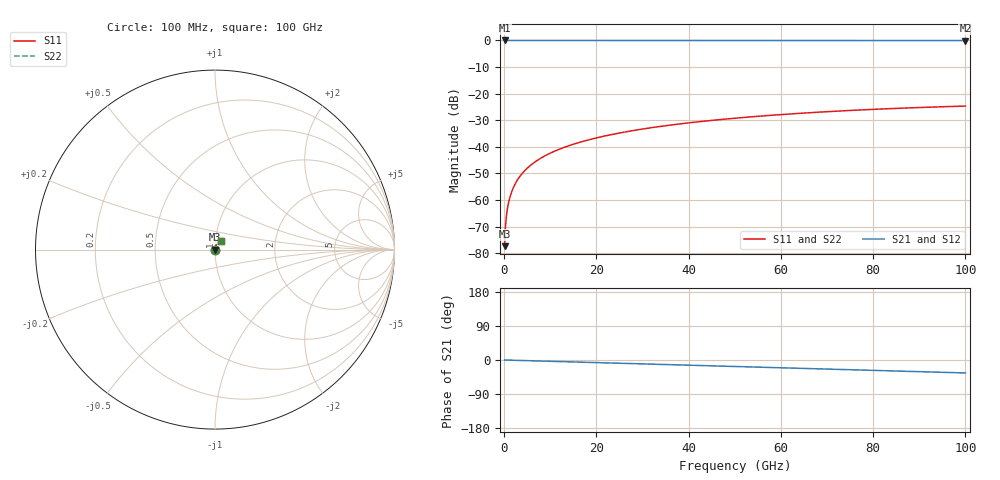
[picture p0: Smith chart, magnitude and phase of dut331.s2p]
! Touchstone file exported from HFSS 2026.1.0
!  File:  C:/ffzhzh/LocalFiles/Ansys_Project_Files/temp_train_TSV_331_1783509678_41296.aedt
!  Generated:  07:22:31 PM Jul  8, 2026
!  Design:  TSV
!  Project:  temp_train_TSV_331_1783509678_41296
! Variables:
!  h_bsmrdl = 2um
!  h_ox = 20um
!  h_rdl = 5um
!  h_sub = 63.23um
!  h_tmrdl = 5um
!  h_tsv = 63.23um
!  h_via = 3um
!  l_bsmrdl = 300um
!  l_sub = 423.64um
!  l_tmrdl = 200um
!  m_sub = 200um
!  pitch = 53.72um
!  r_tsv = 11.82um
!  s_tmrdl = 10um
!  w_bsmrdl = 18um
!  w_sub = 500um
!  w_tmrdl = 12um
!  x_tsv_center1 = 206um
!  x_tsv_center2 = 524um
!  x_tsv_center3 = 736um
!  x_tsv_center4 = 1054um
!  x_tsv_center5 = 1266um
!  x_tsv_center6 = 1584um
# GHz S MA R 50.000000
! Terminal data exported
! Port[1] = TSV1_1_T1
! Port[2] = TSV1_1_T2
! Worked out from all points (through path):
!   1000 points, 100 MHz to 100 GHz, reference 50 ohm
!   highest |S21| = 0.00 dB at 100 MHz (marker M1); lowest = 0.0 dB at 100 GHz (marker M2)
!   group delay of S21, straight-line fit = 948 fs
!   lowest |S11| = -77.4 dB at 100 MHz (marker M3), VSWR 1.00, Z = 50 + j0.0107 ohm
!   |S11| at or under -10 dB: start of sweep to end of sweep
!   |S22| runs from -77.4 to -24.7 dB; largest |S21 - S12| = 2.1e-15
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0.1  0.0001349 52.1  0.9999 -0.0  0.9999 -0.0  0.0001349 52.1
! Gamma 0 0 0 0
! Port Impedance 50 0 50 0
0.3  0.0003268 70.5  0.9999 -0.1  0.9999 -0.1  0.0003268 70.5
0.7  0.0006793 75.1  0.9998 -0.2  0.9998 -0.2  0.0006793 75.1
0.8  0.0007609 75.7  0.9998 -0.3  0.9998 -0.3  0.0007609 75.7
1  0.000921 76.6  0.9998 -0.4  0.9998 -0.4  0.000921 76.6
1.3  0.001157 77.8  0.9998 -0.5  0.9998 -0.5  0.001157 77.8
1.8  0.001547 79.2  0.9997 -0.6  0.9997 -0.6  0.001547 79.2
2.3  0.001932 80.0  0.9997 -0.8  0.9997 -0.8  0.001932 80.0
3  0.002465 80.7  0.9996 -1.0  0.9996 -1.0  0.002465 80.7
3.8  0.003064 81.2  0.9996 -1.3  0.9996 -1.3  0.003064 81.2
4.8  0.003805 81.5  0.9995 -1.7  0.9995 -1.7  0.003805 81.5
6  0.004687 81.8  0.9995 -2.1  0.9995 -2.1  0.004687 81.8
8.8  0.006727 81.8  0.9994 -3.0  0.9994 -3.0  0.006727 81.8
12.4  0.009317 81.2  0.9992 -4.2  0.9992 -4.2  0.009317 81.2
16.8  0.01244 80.3  0.9991 -5.7  0.9991 -5.7  0.01244 80.3
24.2  0.0176 78.4  0.9988 -8.3  0.9988 -8.3  0.0176 78.4
33.4  0.02384 75.7  0.9985 -11.4  0.9985 -11.4  0.02384 75.7
41.2  0.02894 73.3  0.9982 -14.1  0.9982 -14.1  0.02894 73.3
50.1  0.0345 70.5  0.9979 -17.1  0.9979 -17.1  0.0345 70.5
66.7  0.04399 65.2  0.9973 -22.8  0.9973 -22.8  0.04399 65.1
83.4  0.05208 59.7  0.9966 -28.5  0.9966 -28.5  0.05208 59.6
100  0.05825 54.2  0.996 -34.2  0.996 -34.2  0.05825 54.1
